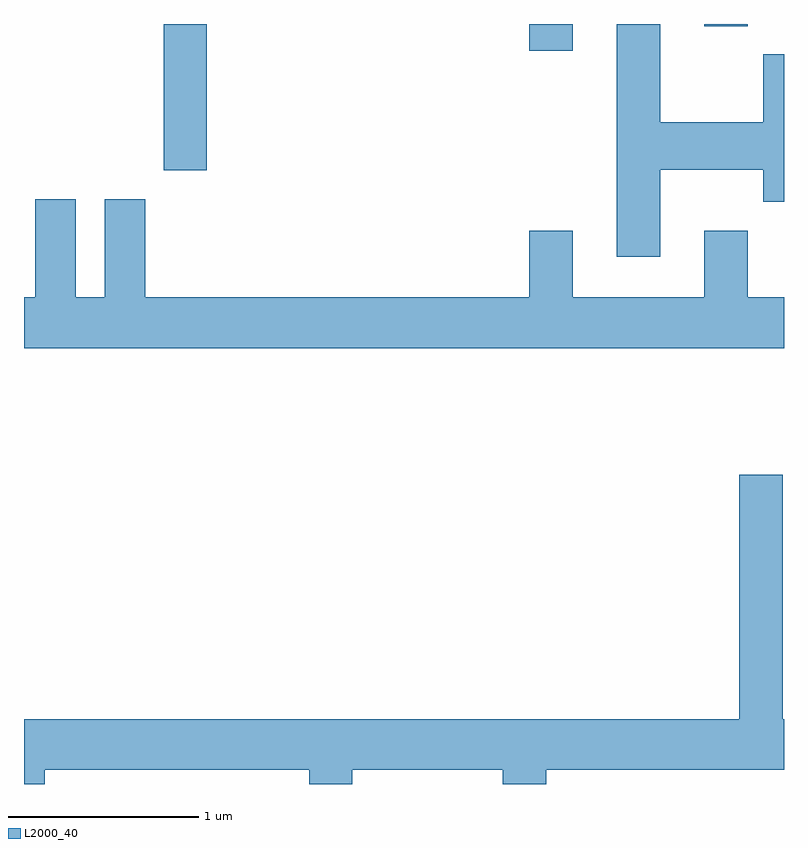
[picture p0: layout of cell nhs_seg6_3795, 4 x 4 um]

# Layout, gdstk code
import gdstk
lib = gdstk.Library(unit=1e-6, precision=1e-09)
def R(c, l, rs):  # rectangles x0, y0, x1, y1
    for r in rs: c.add(gdstk.rectangle(r[:2], r[2:], *l))
def P(c, l, *ps):  # polygons
    for p in ps: c.add(gdstk.Polygon(p, *l))
L2000_40 = (2000, 40)

nhs_seg6_3795 = lib.new_cell('nhs_seg6_3795')
R(nhs_seg6_3795, L2000_40, [(300.346,1575.391,300.574,1576.162), (302.271,1576.021,302.499,1576.162), (303.191,1576.151,303.419,1576.162)])
P(nhs_seg6_3795, L2000_40, [(302.959,1575.396),(303.501,1575.396),(303.501,1575.226),(303.611,1575.226),(303.611,1576.004),(303.501,1576.004),(303.501,1575.644),(302.959,1575.644),(302.959,1576.162),(302.731,1576.162),(302.731,1574.936),(302.959,1574.936)],
  [(303.611,1574.724),(303.419,1574.724),(303.419,1575.074),(303.191,1575.074),(303.191,1574.724),(302.499,1574.724),(302.499,1575.074),(302.271,1575.074),(302.271,1574.724),(300.249,1574.724),(300.249,1575.239),(300.036,1575.239),(300.036,1574.724),(299.884,1574.724),(299.884,1575.239),(299.671,1575.239),(299.671,1574.724),(299.611,1574.724),(299.611,1574.456),(303.611,1574.456)],
  [(299.719,1572.236),(301.111,1572.236),(301.111,1572.162),(301.339,1572.162),(301.339,1572.236),(302.131,1572.236),(302.131,1572.162),(302.359,1572.162),(302.359,1572.236),(303.611,1572.236),(303.611,1572.504),(303.604,1572.504),(303.604,1573.789),(303.376,1573.789),(303.376,1572.504),(299.611,1572.504),(299.611,1572.162),(299.719,1572.162)])

lib.write_gds('nhs_seg6_3795.gds')
